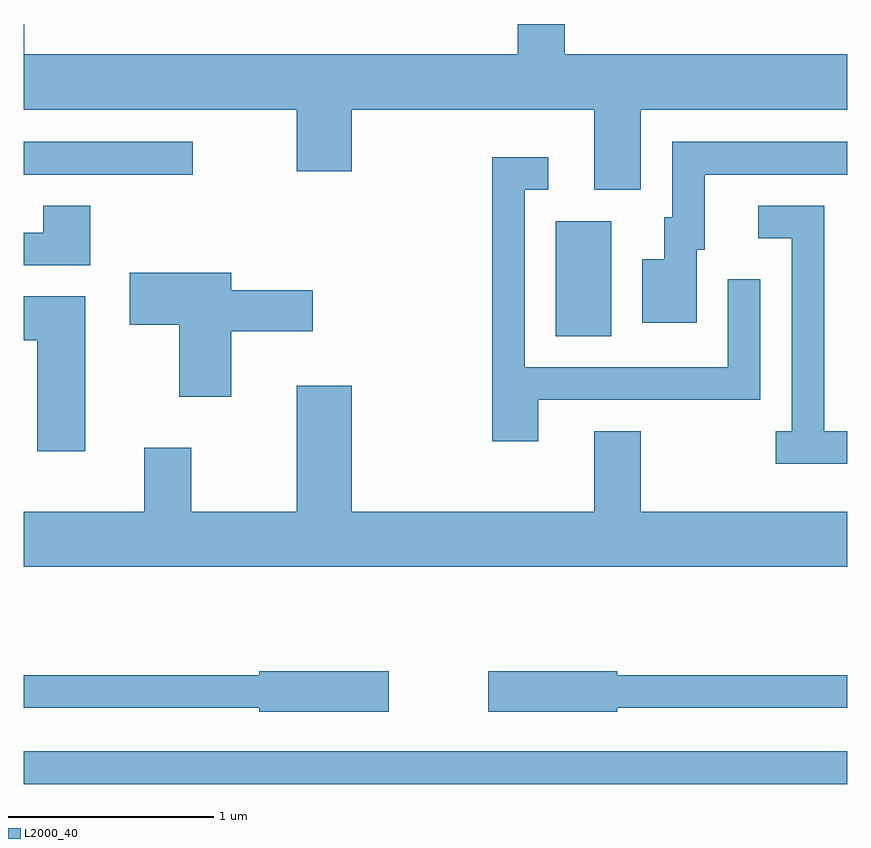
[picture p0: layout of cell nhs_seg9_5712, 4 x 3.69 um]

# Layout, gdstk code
import gdstk
lib = gdstk.Library(unit=1e-6, precision=1e-09)
def R(c, l, rs):  # rectangles x0, y0, x1, y1
    for r in rs: c.add(gdstk.rectangle(r[:2], r[2:], *l))
def P(c, l, *ps):  # polygons
    for p in ps: c.add(gdstk.Polygon(p, *l))
L2000_40 = (2000, 40)

nhs_seg9_5712 = lib.new_cell('nhs_seg9_5712')
R(nhs_seg9_5712, L2000_40, [(353.611,2010.741,357.611,2010.899), (356.196,2012.916,356.464,2013.474), (353.611,2013.701,354.433,2013.859)])
P(nhs_seg9_5712, L2000_40, [(353.614,2014.432),(353.611,2014.432),(353.611,2014.016),(354.936,2014.016),(354.936,2013.716),(355.204,2013.716),(355.204,2014.016),(356.381,2014.016),(356.381,2013.626),(356.609,2013.626),(356.609,2014.016),(357.611,2014.016),(357.611,2014.284),(356.239,2014.284),(356.239,2014.432),(356.011,2014.432),(356.011,2014.284),(353.614,2014.284)],
  [(356.879,2013.336),(356.919,2013.336),(356.919,2013.701),(357.611,2013.701),(357.611,2013.859),(356.761,2013.859),(356.761,2013.494),(356.721,2013.494),(356.721,2013.289),(356.616,2013.289),(356.616,2012.981),(356.879,2012.981)],
  [(356.109,2012.606),(357.189,2012.606),(357.189,2013.193),(357.031,2013.193),(357.031,2012.764),(356.044,2012.764),(356.044,2013.626),(356.158,2013.626),(356.158,2013.784),(355.886,2013.784),(355.886,2012.406),(356.109,2012.406)],
  [(353.934,2013.549),(353.706,2013.549),(353.706,2013.419),(353.611,2013.419),(353.611,2013.261),(353.934,2013.261)],
  [(357.611,2012.454),(357.499,2012.454),(357.499,2013.549),(357.178,2013.549),(357.178,2013.391),(357.341,2013.391),(357.341,2012.454),(357.263,2012.454),(357.263,2012.296),(357.611,2012.296)],
  [(354.619,2012.941),(355.014,2012.941),(355.014,2013.139),(354.619,2013.139),(354.619,2013.224),(354.126,2013.224),(354.126,2012.971),(354.366,2012.971),(354.366,2012.621),(354.619,2012.621)],
  [(353.909,2013.109),(353.611,2013.109),(353.611,2012.896),(353.676,2012.896),(353.676,2012.356),(353.909,2012.356)],
  [(357.611,2012.064),(356.609,2012.064),(356.609,2012.454),(356.381,2012.454),(356.381,2012.064),(355.204,2012.064),(355.204,2012.674),(354.936,2012.674),(354.936,2012.064),(354.424,2012.064),(354.424,2012.374),(354.196,2012.374),(354.196,2012.064),(353.611,2012.064),(353.611,2011.796),(357.611,2011.796)],
  [(355.384,2011.289),(354.756,2011.289),(354.756,2011.269),(353.611,2011.269),(353.611,2011.111),(354.756,2011.111),(354.756,2011.091),(355.384,2011.091)],
  [(356.494,2011.111),(357.611,2011.111),(357.611,2011.269),(356.494,2011.269),(356.494,2011.289),(355.866,2011.289),(355.866,2011.091),(356.494,2011.091)])

lib.write_gds('nhs_seg9_5712.gds')
